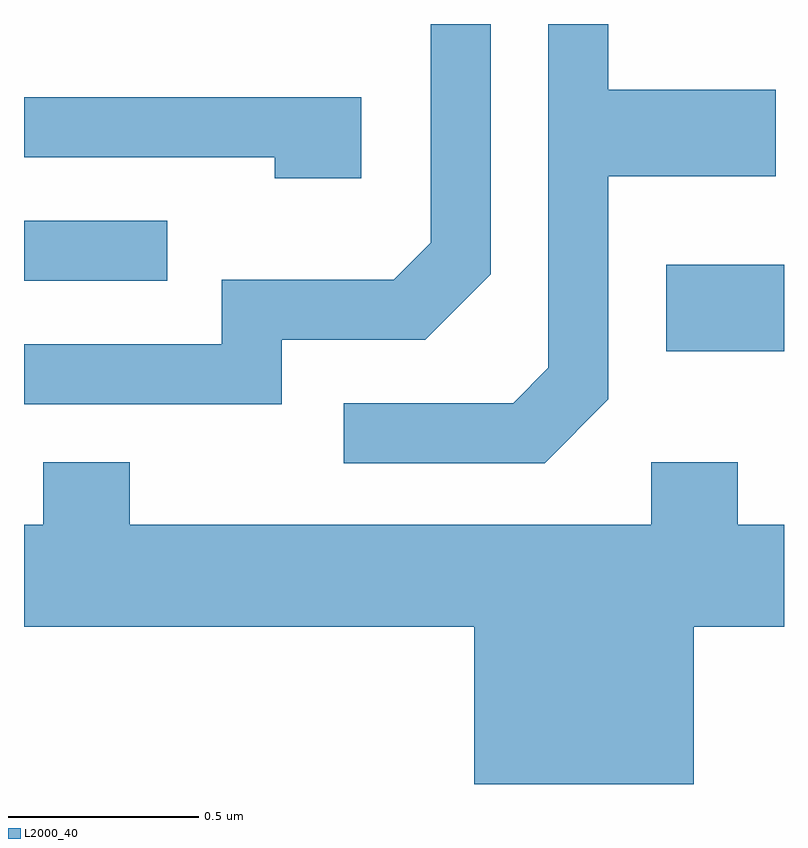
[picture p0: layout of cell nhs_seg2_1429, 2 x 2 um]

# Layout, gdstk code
import gdstk
lib = gdstk.Library(unit=1e-6, precision=1e-09)
def R(c, l, rs):  # rectangles x0, y0, x1, y1
    for r in rs: c.add(gdstk.rectangle(r[:2], r[2:], *l))
def P(c, l, *ps):  # polygons
    for p in ps: c.add(gdstk.Polygon(p, *l))
L2000_40 = (2000, 40)

nhs_seg2_1429 = lib.new_cell('nhs_seg2_1429')
R(nhs_seg2_1429, L2000_40, [(197.301,1037.941,197.611,1038.169), (195.611,1038.126,195.988,1038.284)])
P(nhs_seg2_1429, L2000_40, [(197.149,1037.814),(197.149,1038.401),(197.589,1038.401),(197.589,1038.629),(197.149,1038.629),(197.149,1038.802),(196.991,1038.802),(196.991,1037.897),(196.899,1037.804),(196.453,1037.804),(196.453,1037.646),(196.982,1037.646)],
  [(196.289,1037.971),(196.667,1037.971),(196.839,1038.144),(196.839,1038.802),(196.681,1038.802),(196.681,1038.227),(196.584,1038.129),(196.131,1038.129),(196.131,1037.959),(195.611,1037.959),(195.611,1037.801),(196.289,1037.801)],
  [(196.499,1038.609),(195.611,1038.609),(195.611,1038.451),(196.271,1038.451),(196.271,1038.396),(196.499,1038.396)],
  [(197.374,1037.216),(197.611,1037.216),(197.611,1037.484),(197.489,1037.484),(197.489,1037.649),(197.261,1037.649),(197.261,1037.484),(195.889,1037.484),(195.889,1037.649),(195.661,1037.649),(195.661,1037.484),(195.611,1037.484),(195.611,1037.216),(196.796,1037.216),(196.796,1036.802),(197.374,1036.802)])

lib.write_gds('nhs_seg2_1429.gds')
